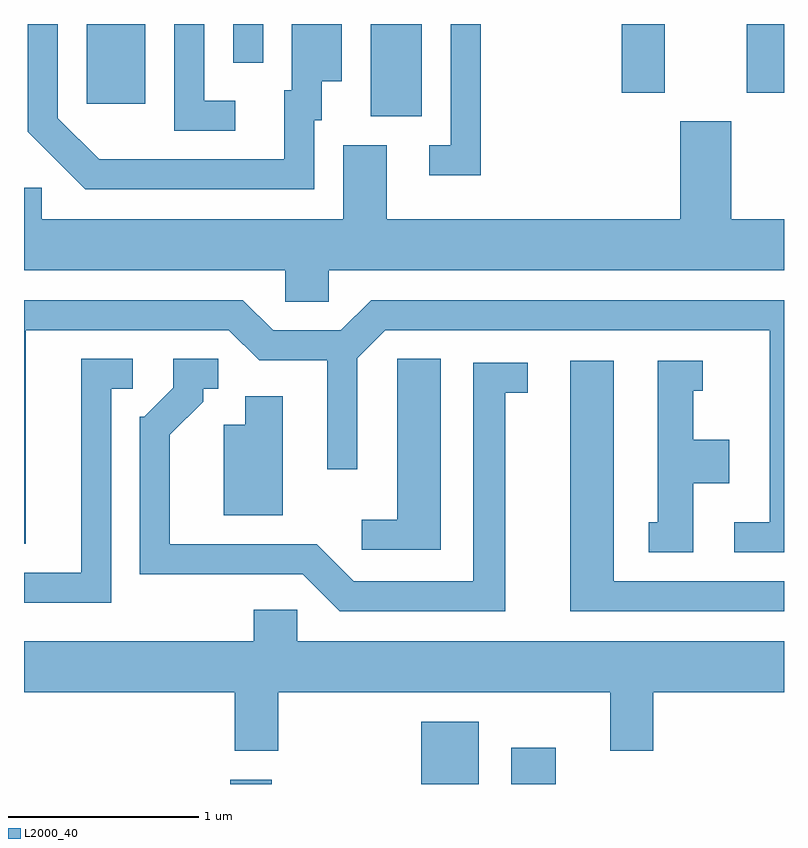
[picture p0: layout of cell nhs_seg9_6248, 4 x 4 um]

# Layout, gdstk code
import gdstk
lib = gdstk.Library(unit=1e-6, precision=1e-09)
def R(c, l, rs):  # rectangles x0, y0, x1, y1
    for r in rs: c.add(gdstk.rectangle(r[:2], r[2:], *l))
def P(c, l, *ps):  # polygons
    for p in ps: c.add(gdstk.Polygon(p, *l))
L2000_40 = (2000, 40)

nhs_seg9_6248 = lib.new_cell('nhs_seg9_6248')
R(nhs_seg9_6248, L2000_40, [(370.696,2002.432,370.914,2002.454), (371.701,2002.432,372.004,2002.759), (372.176,2002.432,372.409,2002.624), (371.436,2005.946,371.704,2006.432), (369.941,2006.011,370.249,2006.432), (372.756,2006.071,372.984,2006.432), (373.416,2006.071,373.611,2006.432), (370.711,2006.228,370.869,2006.432)])
P(nhs_seg9_6248, L2000_40, [(370.723,2006.029),(370.559,2006.029),(370.559,2006.432),(370.401,2006.432),(370.401,2005.871),(370.723,2005.871)],
  [(371.139,2005.926),(371.179,2005.926),(371.179,2006.131),(371.284,2006.131),(371.284,2006.432),(371.021,2006.432),(371.021,2006.084),(370.981,2006.084),(370.981,2005.719),(370.007,2005.719),(369.789,2005.937),(369.789,2006.432),(369.631,2006.432),(369.631,2005.864),(369.934,2005.561),(371.139,2005.561)],
  [(372.014,2006.432),(371.856,2006.432),(371.856,2005.794),(371.743,2005.794),(371.743,2005.636),(372.014,2005.636)],
  [(371.214,2005.136),(373.611,2005.136),(373.611,2005.404),(373.334,2005.404),(373.334,2005.919),(373.066,2005.919),(373.066,2005.404),(371.519,2005.404),(371.519,2005.794),(371.291,2005.794),(371.291,2005.404),(369.704,2005.404),(369.704,2005.569),(369.611,2005.569),(369.611,2005.136),(370.986,2005.136),(370.986,2004.971),(371.214,2004.971)],
  [(373.611,2004.979),(371.439,2004.979),(371.279,2004.819),(370.922,2004.819),(370.762,2004.979),(369.611,2004.979),(369.611,2003.696),(369.619,2003.696),(369.619,2004.821),(370.689,2004.821),(370.849,2004.661),(371.206,2004.661),(371.206,2004.088),(371.364,2004.088),(371.364,2004.674),(371.512,2004.821),(373.536,2004.821),(373.536,2003.809),(373.348,2003.809),(373.348,2003.651),(373.611,2003.651)],
  [(371.804,2004.669),(371.576,2004.669),(371.576,2003.824),(371.388,2003.824),(371.388,2003.666),(371.804,2003.666)],
  [(370.069,2004.511),(370.183,2004.511),(370.183,2004.669),(369.911,2004.669),(369.911,2003.544),(369.611,2003.544),(369.611,2003.386),(370.069,2003.386)],
  [(372.144,2004.491),(372.263,2004.491),(372.263,2004.649),(371.976,2004.649),(371.976,2003.499),(371.347,2003.499),(371.152,2003.694),(370.379,2003.694),(370.379,2004.269),(370.554,2004.444),(370.554,2004.511),(370.633,2004.511),(370.633,2004.669),(370.396,2004.669),(370.396,2004.517),(370.244,2004.364),(370.221,2004.364),(370.221,2003.536),(371.079,2003.536),(371.274,2003.341),(372.144,2003.341)],
  [(373.611,2003.499),(372.714,2003.499),(372.714,2004.659),(372.486,2004.659),(372.486,2003.341),(373.611,2003.341)],
  [(373.134,2004.016),(373.324,2004.016),(373.324,2004.244),(373.134,2004.244),(373.134,2004.501),(373.183,2004.501),(373.183,2004.659),(372.946,2004.659),(372.946,2003.809),(372.898,2003.809),(372.898,2003.651),(373.134,2003.651)],
  [(370.974,2004.474),(370.776,2004.474),(370.776,2004.324),(370.661,2004.324),(370.661,2003.846),(370.974,2003.846)],
  [(370.949,2002.916),(372.696,2002.916),(372.696,2002.606),(372.924,2002.606),(372.924,2002.916),(373.611,2002.916),(373.611,2003.184),(371.049,2003.184),(371.049,2003.349),(370.821,2003.349),(370.821,2003.184),(369.611,2003.184),(369.611,2002.916),(370.721,2002.916),(370.721,2002.606),(370.949,2002.606)])

lib.write_gds('nhs_seg9_6248.gds')
